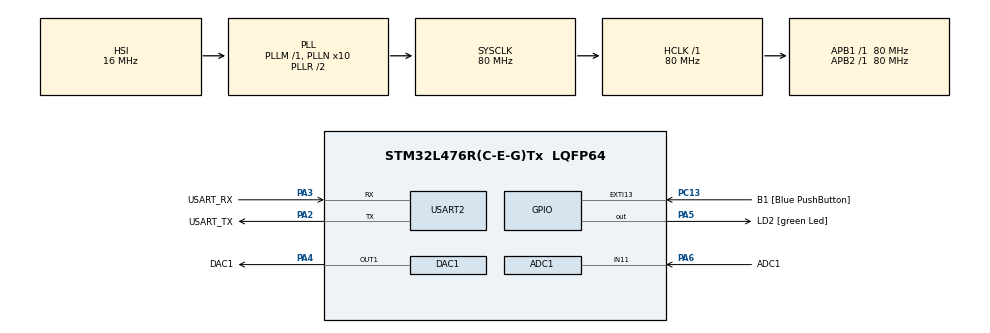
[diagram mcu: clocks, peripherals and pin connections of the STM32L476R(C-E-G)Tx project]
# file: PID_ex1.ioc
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ADC1.Channel-1\#ChannelRegularConversion=ADC_CHANNEL_11
ADC1.NbrOfConversionFlag=1
ADC1.OffsetNumber-1\#ChannelRegularConversion=ADC_OFFSET_NONE
ADC1.Rank-1\#ChannelRegularConversion=1
ADC1.SamplingTime-1\#ChannelRegularConversion=ADC_SAMPLETIME_2CYCLES_5
ADC1.master=1
FREERTOS.Tasks01=defaultTask,24,128,StartDefaultTask,Default,NULL,Dynamic,NULL,NULL
FREERTOS.configUSE_OS2_EVENTFLAGS_FROM_ISR=0
FREERTOS.configUSE_OS2_MUTEX=0
FREERTOS.configUSE_OS2_THREAD_ENUMERATE=0
FREERTOS.configUSE_OS2_THREAD_FLAGS=0
FREERTOS.configUSE_OS2_THREAD_SUSPEND_RESUME=0
FREERTOS.configUSE_OS2_TIMER=0
Mcu.Family=STM32L4
Mcu.Name=STM32L476R(C-E-G)Tx
Mcu.Package=LQFP64
Mcu.UserConstants=TIM_PRESCALER,799;TIM_PERIOD,99
NVIC.ADC1_2_IRQn=true\:5\:0\:false\:false\:true\:true\:true\:true\:true
NVIC.EXTI15_10_IRQn=true\:5\:0\:false\:false\:true\:true\:true\:true\:true
NVIC.PriorityGroup=NVIC_PRIORITYGROUP_4
NVIC.USART2_IRQn=true\:5\:0\:false\:false\:true\:true\:true\:true\:true
PA13\ (JTMS-SWDIO).GPIO_Label=TMS
PA13\ (JTMS-SWDIO).Mode=Serial_Wire
PA13\ (JTMS-SWDIO).Signal=SYS_JTMS-SWDIO
PA14\ (JTCK-SWCLK).GPIO_Label=TCK
PA14\ (JTCK-SWCLK).Mode=Serial_Wire
PA14\ (JTCK-SWCLK).Signal=SYS_JTCK-SWCLK
PA2.GPIO_Label=USART_TX
PA2.GPIO_Mode=GPIO_MODE_AF_PP
PA2.GPIO_PuPd=GPIO_NOPULL
PA2.GPIO_Speed=GPIO_SPEED_FREQ_VERY_HIGH
PA2.Mode=Asynchronous
PA2.Signal=USART2_TX
PA3.GPIO_Label=USART_RX
PA3.GPIO_Mode=GPIO_MODE_AF_PP
PA3.GPIO_PuPd=GPIO_NOPULL
PA3.GPIO_Speed=GPIO_SPEED_FREQ_VERY_HIGH
PA3.Mode=Asynchronous
PA3.Signal=USART2_RX
PA4.GPIO_Label=DAC1
PA4.Signal=COMP_DAC11_group
PA5.GPIO_Label=LD2 [green Led]
PA5.GPIO_ModeDefaultOutputPP=GPIO_MODE_OUTPUT_PP
PA5.GPIO_PuPd=GPIO_NOPULL
PA5.GPIO_Speed=GPIO_SPEED_FREQ_LOW
PA5.Signal=GPIO_Output
PA6.GPIO_Label=ADC1
PA6.Signal=ADCx_IN11
PB3\ (JTDO-TRACESWO).GPIO_Label=SWO
PB3\ (JTDO-TRACESWO).Signal=SYS_JTDO-SWO
PC13.GPIO_Label=B1 [Blue PushButton]
PC13.GPIO_ModeDefaultEXTI=GPIO_MODE_IT_FALLING
PC13.GPIO_PuPd=GPIO_NOPULL
PC13.Signal=GPXTI13
PC14-OSC32_IN\ (PC14).Mode=LSE-External-Oscillator
PC14-OSC32_IN\ (PC14).Signal=RCC_OSC32_IN
PC15-OSC32_OUT\ (PC15).Mode=LSE-External-Oscillator
PC15-OSC32_OUT\ (PC15).Signal=RCC_OSC32_OUT
PH0-OSC_IN\ (PH0).Signal=RCC_OSC_IN
PH1-OSC_OUT\ (PH1).Signal=RCC_OSC_OUT
ProjectManager.HeapSize=0x200
ProjectManager.StackSize=0x400
ProjectManager.TargetToolchain=CMake
RCC.ADCFreq_Value=64000000
RCC.AHBFreq_Value=80000000
RCC.APB1Freq_Value=80000000
RCC.APB1TimFreq_Value=80000000
RCC.APB2Freq_Value=80000000
RCC.APB2TimFreq_Value=80000000
RCC.CortexFreq_Value=80000000
RCC.HCLKFreq_Value=80000000
RCC.HSE_VALUE=8000000
RCC.HSI_VALUE=16000000
RCC.MSI_VALUE=4000000
RCC.PLLN=10
RCC.PLLSourceVirtual=RCC_PLLSOURCE_HSI
RCC.PREFETCH_ENABLE=1
RCC.SYSCLKFreq_VALUE=80000000
RCC.SYSCLKSource=RCC_SYSCLKSOURCE_PLLCLK
RCC.USBFreq_Value=64000000
RCC.VCOOutputFreq_Value=160000000
SH.ADCx_IN11.0=ADC1_IN11,IN11-Single-Ended
SH.COMP_DAC11_group.0=DAC1_OUT1,DAC_OUT1
TIM6.Period=TIM_PERIOD
TIM6.Prescaler=TIM_PRESCALER
TIM6.TIM_MasterOutputTrigger=TIM_TRGO_UPDATE
USART2.VirtualMode-Asynchronous=VM_ASYNC
VP_FREERTOS_VS_CMSIS_V2.Mode=CMSIS_V2
VP_TIM6_VS_ClockSourceINT.Mode=Enable_Timer
board=NUCLEO-L476RG

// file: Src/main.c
/* USER CODE BEGIN Header */
/**
 ******************************************************************************
 * @file           : main.c
 * @brief          : Main program body
 ******************************************************************************
 * @attention
 *
 * <h2><center>&copy; Copyright (c) 2019 STMicroelectronics.
 * All rights reserved.</center></h2>
 *
 * This software component is licensed by ST under BSD 3-Clause license,
 * the "License"; You may not use this file except in compliance with the
 * License. You may obtain a copy of the License at:
 *                        opensource.org/licenses/BSD-3-Clause
 *
 ******************************************************************************
 */
/* USER CODE END Header */
#include "main.h"
#include "cmsis_os.h"
#include "adc.h"
#include "dac.h"
#include "tim.h"
#include "usart.h"
#include "gpio.h"
#include <stdio.h>

#include "FreeRTOS.h"
#include "semphr.h"
#include "queue.h"

/* USER CODE BEGIN Includes */

// --> include all necessary headers for
// printf() redirection
// FreeRTOS related headers
#include "pid.h"

/* USER CODE END Includes */

void SystemClock_Config(void);
void MX_FREERTOS_Init(void);
/* USER CODE BEGIN PFP */

QueueHandle_t mailbox;
QueueHandle_t mailbox_comm;
QueueHandle_t mailbox_setpoint;
QueueHandle_t queue;

static uint32_t measurement;
static uint8_t user_input;

struct {
    uint32_t measurement;
    uint32_t control;
    uint32_t setpoint;
} typedef control_info_t;

/* USER CODE END PFP */

/* USER CODE BEGIN 0 */
int _write(int file, char *ptr, int len) {
    HAL_UART_Transmit(&huart2, (uint8_t *) ptr, len, 50);
    return len;
}

void HAL_UART_RxCpltCallback(UART_HandleTypeDef *huart) {

  xQueueSendFromISR(mailbox, &user_input, NULL);

  HAL_UART_Receive_IT(&huart2, (uint8_t *) &user_input, 1);
}

void measureTask(void *args) {
	TickType_t xLastWakeTime;

	xLastWakeTime = xTaskGetTickCount();

	for (;;) {

    xQueueSend(queue, &measurement, portMAX_DELAY);

    vTaskDelay(10/portTICK_PERIOD_MS);
	}
}

void controlTask(void *args) {
	TickType_t xLastWakeTime;

	xLastWakeTime = xTaskGetTickCount();

  uint32_t local_setpoint = 0;
  uint32_t local_measurement = 0;
  control_info_t local_control_info = {0};

	for (;;) {

    xQueuePeek(queue, &local_setpoint, portMAX_DELAY);
    if(xQueueReceive(queue, &local_measurement, portMAX_DELAY))
    {
      int32_t control_signal = pid(local_setpoint, local_measurement);

      if(control_signal > 1000) {
        control_signal = 1000;
      } else if(control_signal < 0) {
        control_signal = 0;
      }

      __HAL_TIM_SET_COMPARE(&htim6, TIM_CHANNEL_3, control_signal);

      local_control_info.measurement = local_measurement;
      local_control_info.setpoint = local_setpoint;
      local_control_info.control = control_signal;
      xQueueOverwrite(mailbox_comm, &local_control_info);
    }
	}
}

void commTask(void *args) {
	TickType_t xLastWakeTime;

	xLastWakeTime = xTaskGetTickCount();

  control_info_t local_control_info = {0};

	for (;;) {

    xQueuePeek(mailbox_comm, &local_control_info, 0);

    printf("time: %lu, measured value: %u, setpoint: %u, control signal: %u\r\n",
          xTaskGetTickCount(),
          local_control_info.measurement,
          local_control_info.setpoint,
          local_control_info.control);

    vTaskDelay(500/portTICK_PERIOD_MS);
	}
}

void userTask(void *args) {
	TickType_t xLastWakeTime;

	xLastWakeTime = xTaskGetTickCount();

  uint8_t local_user_input;

	for (;;) {

    if(xQueueReceive(mailbox, &local_user_input, portMAX_DELAY))
    {
      int32_t local_setpoint = local_user_input - '0';

      local_setpoint = local_setpoint*500;

      xQueueOverwrite(mailbox_setpoint, &local_setpoint);
    }

	}
}

/* USER CODE END 0 */

int main(void)
{

  /* MCU Configuration--------------------------------------------------------*/

  /* Reset of all peripherals, Initializes the Flash interface and the Systick. */
  HAL_Init();

  /* Configure the system clock */
  SystemClock_Config();

  /* Initialize all configured peripherals */
  MX_GPIO_Init();
  MX_USART2_UART_Init();
  MX_ADC1_Init();
  MX_TIM6_Init();
  MX_DAC1_Init();
  /* USER CODE BEGIN 2 */

	// enable UART receive in interrupt mode

  queue = xQueueCreate(15, sizeof(uint32_t));
  mailbox = xQueueCreate(1, sizeof(int32_t));
  mailbox_comm = xQueueCreate(1, sizeof(control_info_t));
  mailbox_setpoint = xQueueCreate(1, sizeof(uint32_t));

  xTaskCreate(commTask, "comm", configMINIMAL_STACK_SIZE * 2, NULL, 1, NULL);
  xTaskCreate(controlTask, "control", configMINIMAL_STACK_SIZE * 2, NULL, 1, NULL);
  xTaskCreate(userTask, "user", configMINIMAL_STACK_SIZE * 2, NULL, 1, NULL);
  xTaskCreate(measureTask, "measure", configMINIMAL_STACK_SIZE * 2, NULL, 1, NULL);

  HAL_TIM_PWM_Start(&htim6, TIM_CHANNEL_3);
  HAL_ADC_Start_DMA(&hadc1, (uint32_t *)&measurement, 1);
  HAL_UART_Receive_IT(&huart2, (uint8_t *) &user_input, 1);
	// --> create all necessary synchronization mechanisms
	// --> create all necessary tasks
	printf("Starting!\r\n");

	// --> start FreeRTOS scheduler
	vTaskStartScheduler();

	// --> start FreeRTOS scheduler

  /* USER CODE END 2 */

  /* We should never get here as control is now taken by the scheduler */

  /* Infinite loop */
	while (1) {

	}
}

void SystemClock_Config(void)
{
  RCC_OscInitTypeDef RCC_OscInitStruct = {0};
  RCC_ClkInitTypeDef RCC_ClkInitStruct = {0};

  /** Configure the main internal regulator output voltage
  */
  if (HAL_PWREx_ControlVoltageScaling(PWR_REGULATOR_VOLTAGE_SCALE1) != HAL_OK)
  {
    Error_Handler();
  }

  /** Initializes the RCC Oscillators according to the specified parameters
  * in the RCC_OscInitTypeDef structure.
  */
  RCC_OscInitStruct.OscillatorType = RCC_OSCILLATORTYPE_HSI;
  RCC_OscInitStruct.HSIState = RCC_HSI_ON;
  RCC_OscInitStruct.HSICalibrationValue = RCC_HSICALIBRATION_DEFAULT;
  RCC_OscInitStruct.PLL.PLLState = RCC_PLL_ON;
  RCC_OscInitStruct.PLL.PLLSource = RCC_PLLSOURCE_HSI;
  RCC_OscInitStruct.PLL.PLLM = 1;
  RCC_OscInitStruct.PLL.PLLN = 10;
  RCC_OscInitStruct.PLL.PLLP = RCC_PLLP_DIV7;
  RCC_OscInitStruct.PLL.PLLQ = RCC_PLLQ_DIV2;
  RCC_OscInitStruct.PLL.PLLR = RCC_PLLR_DIV2;
  if (HAL_RCC_OscConfig(&RCC_OscInitStruct) != HAL_OK)
  {
    Error_Handler();
  }

  /** Initializes the CPU, AHB and APB buses clocks
  */
  RCC_ClkInitStruct.ClockType = RCC_CLOCKTYPE_HCLK|RCC_CLOCKTYPE_SYSCLK
                              |RCC_CLOCKTYPE_PCLK1|RCC_CLOCKTYPE_PCLK2;
  RCC_ClkInitStruct.SYSCLKSource = RCC_SYSCLKSOURCE_PLLCLK;
  RCC_ClkInitStruct.AHBCLKDivider = RCC_SYSCLK_DIV1;
  RCC_ClkInitStruct.APB1CLKDivider = RCC_HCLK_DIV1;
  RCC_ClkInitStruct.APB2CLKDivider = RCC_HCLK_DIV1;

  if (HAL_RCC_ClockConfig(&RCC_ClkInitStruct, FLASH_LATENCY_4) != HAL_OK)
  {
    Error_Handler();
  }
}

void Error_Handler(void)
{
}
